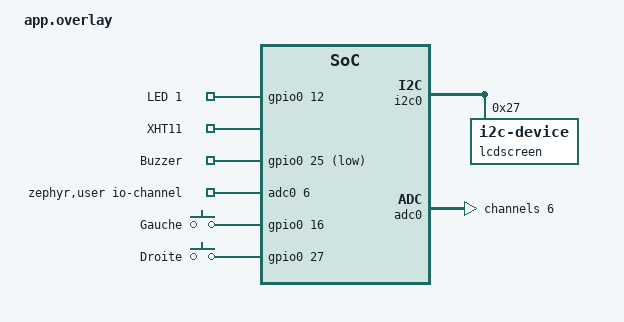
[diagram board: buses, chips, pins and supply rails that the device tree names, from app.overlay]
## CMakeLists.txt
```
# SPDX-License-Identifier: Apache-2.0

cmake_minimum_required(VERSION 3.20.0)

find_package(Zephyr REQUIRED HINTS $ENV{ZEPHYR_BASE})
project(hello_world)

target_sources(app PRIVATE 
src/main.c 
src/lcd_screen_i2c.c
src/temp_sensor_steam.c
src/button.c
)
```

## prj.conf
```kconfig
# nothing here
CONFIG_ESP32_USE_UNSUPPORTED_REVISION=y

# I2C
CONFIG_I2C=y

# SENSOR
CONFIG_ADC=y
CONFIG_SENSOR=y
CONFIG_REQUIRES_FULL_LIBC=y
CONFIG_REQUIRES_FLOAT_PRINTF=y
CONFIG_CBPRINTF_FP_SUPPORT=y

# PWM
CONFIG_PWM=y
CONFIG_PWM_LOG_LEVEL_DBG=n
```

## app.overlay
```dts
/{
    gpio_keys {
        compatible = "gpio-keys";
        ledyellow: led_yellow {
            gpios = <&gpio0 12 GPIO_ACTIVE_HIGH>;
            label = "LED 1";
        };
        dht11: dht11 {
            compatible = "aosong,dht";
            status = "okay";
            dio-gpios = <&gpio0 17 GPIO_ACTIVE_LOW>;
            label = "XHT11";
        };
        buzzer: buzzer {
            gpios = <&gpio0 25 GPIO_ACTIVE_LOW>;
            label = "Buzzer";
        };
    };
    
	zephyr,user {
		io-channels =
			<&adc0 6>;
        
			
	};

    buttons {
        compatible = "gpio-keys";
        button0: button_0 {
                gpios = < &gpio0 16 GPIO_PULL_UP  >;
                label = "Gauche";
        };
        button1: button_1 {
            gpios = < &gpio0 27 GPIO_PULL_UP  >;
            label = "Droite";
    };
        /* ... other buttons ... */
    };


    aliases {
        led-yellow = &ledyellow;
        lcd =&lcdscreen;
        sw0 = &button0;
        sw1 = &button1;
        buzzer = &buzzer;
    
    };
};


&i2c0 {
	lcdscreen: lcdscreen@27 {
		reg = <0x27>;
		compatible = "i2c-device";
		status = "okay";
	};
};
&adc0 {
	status = "okay";
	#address-cells = <1>;
	#size-cells = <0>;

	channel@6 {
		reg = <6>;
		zephyr,gain = "ADC_GAIN_1_4";
		zephyr,reference = "ADC_REF_INTERNAL";
		zephyr,acquisition-time = <ADC_ACQ_TIME_DEFAULT>;
		zephyr,resolution = <12>;
	};
};
```

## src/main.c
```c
/*
 * Copyright (c) 2012-2014 Wind River Systems, Inc.
 *
 * SPDX-License-Identifier: Apache-2.0
 */

// Include
#include <zephyr/kernel.h>
#include <zephyr/drivers/gpio.h>
#include <zephyr/device.h>
#include <zephyr/drivers/sensor.h>
#include "../inc/lcd_screen_i2c.h"
#include <zephyr/drivers/i2c.h>
#include <zephyr/drivers/adc.h>
#include "../inc/temp_sensor_steam.h"
#include "../inc/button.h"
#include <zephyr/drivers/pwm.h>
//Define
#define LED_YELLOW_NODE DT_ALIAS(led_yellow)
#define LCD_NODE DT_ALIAS(lcd)
#define SW0_NODE	DT_ALIAS(sw0)
#define SW1_NODE	DT_ALIAS(sw1)
#define BUZZER_NODE DT_ALIAS(buzzer)

const k_tid_t thread2_id;
const k_tid_t thread3_id;
bool flag_thread_2=false;
bool flag_thread_3=false;

//Main code
const struct gpio_dt_spec led_yellow_gpio = GPIO_DT_SPEC_GET_OR(LED_YELLOW_NODE, gpios, {0});
const struct i2c_dt_spec lcd_screen = I2C_DT_SPEC_GET(LCD_NODE);
const struct gpio_dt_spec buzzer = GPIO_DT_SPEC_GET_OR(BUZZER_NODE, gpios, {0});


void thread1(){ // Lecture de la température et de Steam toutes les 10 sec
	while(1){
		read_temp_and_steam_sensor();
		k_sleep(K_MSEC(10000));
	}

}
void thread2(){ // Lecture de la température et de Steam toutes les 10 sec
	while(1){
		if(flag_thread_2)
		{
			printk("Je suis réveille\n");
			write_lcd(&lcd_screen, "                ", LCD_LINE_1);
			write_lcd(&lcd_screen, "                ", LCD_LINE_2);
			write_lcd(&lcd_screen, "Yipi", LCD_LINE_1);
			flag_thread_2=false;
			
		}
		k_thread_suspend(thread2_id);
		
	}

}
void thread3(){ // Lecture de la température et de Steam toutes les 10 sec
	while(1){
		
		if(flag_thread_3)
		{
			printk("Je suis ici \n");
			gpio_pin_set_dt(&buzzer, 1);
		}
		else{
			printk("Je suis la \n");
			gpio_pin_set_dt(&buzzer, 0);
		}
		k_thread_suspend(thread3_id);
		
		
		
	}

}
/*
Le code des boutons a été récupéré depuis ce dépot GIT : 
https://github.com/ubieda/zephyr_button_debouncing/tree/master/src
*/

static int helper_button_evt_str(enum button_evt evt)
{
	switch (evt) {
	case BUTTON_EVT_PRESSED:
		return 1;
	case BUTTON_EVT_RELEASED:
		return 0;
	default:
		return -1;
	}
}

void button0_event_handler(enum button_evt evt)
{
	
	if(helper_button_evt_str(evt))
	{
		printk("Plop\n");
		flag_thread_2=true;
		k_thread_resume(thread2_id);
	}
		
	
	
}
void button1_event_handler(enum button_evt evt)
{
	if(helper_button_evt_str(evt))
	{
		k_thread_resume(thread3_id);
		printk("Plop son\n %d",flag_thread_3);
		flag_thread_3=!flag_thread_3;
		
	}

	
}


int main(void) {
	gpio_pin_configure_dt(&led_yellow_gpio, GPIO_OUTPUT_HIGH);
	gpio_pin_configure_dt(&buzzer, GPIO_OUTPUT_LOW);
	init_lcd(&lcd_screen);
	

	int err0 = -1;

	printk("Button Debouncing Sample!\n");

	err0 = button0_init(button0_event_handler);
	if (err0) {
		printk("Button Init failed: %d\n", err0);
		return 0;
	}

	int err1 = -1;

	printk("Button Debouncing Sample!\n");

	err1 = button1_init(button1_event_handler);
	if (err1) {
		printk("Button Init failed: %d\n", err1);
		return 0;
	}






}



K_THREAD_DEFINE(thread1_id,1024,thread1,NULL,NULL,NULL,9,0,0);
K_THREAD_DEFINE(thread2_id,1024,thread2,NULL,NULL,NULL,9,0,0);
K_THREAD_DEFINE(thread3_id,1024,thread3,NULL,NULL,NULL,9,0,0);
```

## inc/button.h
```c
/*
Ce code a été récupéré depuis ce dépot GIT : 
https://github.com/ubieda/zephyr_button_debouncing/tree/master/src
*/

#ifndef _BUTTON_H_
#define _BUTTON_H_

enum button_evt {
    BUTTON_EVT_PRESSED,
    BUTTON_EVT_RELEASED
};

typedef void (*button_event_handler_t)(enum button_evt evt);

int button0_init(button_event_handler_t handler);
int button1_init(button_event_handler_t handler);

#endif /* _BUTTON_H_ */
```

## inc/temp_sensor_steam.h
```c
/**
 * Author: Vivien Debuchy
 * Simple library for LCD-1602 I2C
 * Based on https://github.com/sterlingbeason/LCD-1602-I2C
 */

#ifndef TEMP_STEAM_SENSOR
#define TEMP_STEAM_SENSOR

struct i2c_dt_spec;



void read_temp_and_steam_sensor();

#endif // TEMP_STEAM_SENSOR
```

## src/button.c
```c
/*
Ce code a été récupéré depuis ce dépot GIT : 
https://github.com/ubieda/zephyr_button_debouncing/tree/master/src
*/



#include <zephyr/kernel.h>
#include <zephyr/drivers/gpio.h>
#include "../inc/button.h"

#define SW0_NODE	DT_ALIAS(sw0)
#define SW1_NODE	DT_ALIAS(sw1)
//Bouton 0
static const struct gpio_dt_spec button0 = GPIO_DT_SPEC_GET_OR(SW0_NODE, gpios,
							      {0});
static struct gpio_callback button0_cb_data;
static button_event_handler_t user0_cb;

//Bouton 1
static const struct gpio_dt_spec button1 = GPIO_DT_SPEC_GET_OR(SW1_NODE, gpios,
							      {0});
static struct gpio_callback button1_cb_data;
static button_event_handler_t user1_cb;


//Button 0
static void cooldown0_expired(struct k_work *work)
{
    ARG_UNUSED(work);

    int val = gpio_pin_get_dt(&button0);
    enum button_evt evt = val ? BUTTON_EVT_RELEASED : BUTTON_EVT_PRESSED;
    if (user0_cb) {
        user0_cb(evt);
    }
}

static K_WORK_DELAYABLE_DEFINE(cooldown0_work, cooldown0_expired);

void button0_pressed(const struct device *dev, struct gpio_callback *cb,
		    uint32_t pins)
{
    k_work_reschedule(&cooldown0_work, K_MSEC(15));
}

int button0_init(button_event_handler_t handler)
{
    int err = -1;

    if (!handler) {
        return -EINVAL;
    }

    user0_cb = handler;

	if (!device_is_ready(button0.port)) {
		return -EIO;
	}

	err = gpio_pin_configure_dt(&button0, GPIO_INPUT);
	if (err) {
        return err;
	}

	err = gpio_pin_interrupt_configure_dt(&button0, GPIO_INT_EDGE_BOTH);
	if (err) {
		return err;
	}

	gpio_init_callback(&button0_cb_data, button0_pressed, BIT(button0.pin));
	err = gpio_add_callback(button0.port, &button0_cb_data);
    if (err) {
        return err;
    }

    return 0;
}

//Button 1
static void cooldown1_expired(struct k_work *work)
{
    ARG_UNUSED(work);

    int val = gpio_pin_get_dt(&button1);
    enum button_evt evt = val ? BUTTON_EVT_RELEASED : BUTTON_EVT_PRESSED ;
    if (user1_cb) {
        user1_cb(evt);
    }
}

static K_WORK_DELAYABLE_DEFINE(cooldown1_work, cooldown1_expired);

void button1_pressed(const struct device *dev, struct gpio_callback *cb,
		    uint32_t pins)
{
    k_work_reschedule(&cooldown1_work, K_MSEC(15));
}

int button1_init(button_event_handler_t handler)
{
    int err = -1;

    if (!handler) {
        return -EINVAL;
    }

    user1_cb = handler;

	if (!device_is_ready(button1.port)) {
		return -EIO;
	}

	err = gpio_pin_configure_dt(&button1, GPIO_INPUT);
	if (err) {
        return err;
	}

	err = gpio_pin_interrupt_configure_dt(&button1, GPIO_INT_EDGE_BOTH);
	if (err) {
		return err;
	}

	gpio_init_callback(&button1_cb_data, button1_pressed, BIT(button1.pin));
	err = gpio_add_callback(button1.port, &button1_cb_data);
    if (err) {
        return err;
    }

    return 0;
}
```

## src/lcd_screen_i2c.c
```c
#include "lcd_screen_i2c.h"

#include <zephyr/kernel.h>

static void lcd_toggle_enable(const struct i2c_dt_spec *dev_lcd_screen, uint8_t bits);
static void lcd_byte(const struct i2c_dt_spec *dev_lcd_screen, uint8_t bits, uint8_t mode);

void init_lcd(const struct i2c_dt_spec *dev_lcd_screen)
{
    lcd_byte(dev_lcd_screen, 0x33, LCD_CMD);
    lcd_byte(dev_lcd_screen, 0x32, LCD_CMD);
    lcd_byte(dev_lcd_screen, 0x06, LCD_CMD);
    lcd_byte(dev_lcd_screen, 0x0c, LCD_CMD);
    lcd_byte(dev_lcd_screen, 0x28, LCD_CMD);
    lcd_byte(dev_lcd_screen, 0x01, LCD_CMD);
    write_lcd(dev_lcd_screen, HELLO_MSG, LCD_LINE_1);
    write_lcd(dev_lcd_screen, ZEPHYR_MSG, LCD_LINE_2);
}

static void lcd_byte(const struct i2c_dt_spec *dev_lcd_screen, uint8_t bits, uint8_t mode)
{
    int ret = 0;
    uint8_t bits_high = mode | (bits & 0xf0) | LCD_BACKLIGHT;
    uint8_t bits_low = mode | ((bits << 4) & 0xf0) | LCD_BACKLIGHT;
    ret = i2c_write_dt(dev_lcd_screen, bits_high, sizeof(bits_high));
    if (ret != 0)
    {
        printk("ERROR while writing to I2C");
    }
    lcd_toggle_enable(dev_lcd_screen, bits_high);

    ret = i2c_write_dt(dev_lcd_screen, bits_low, sizeof(bits_low));
    if (ret != 0)
    {
        printk("ERROR while writing to I2C");
    }
    lcd_toggle_enable(dev_lcd_screen, bits_low);
}

void write_lcd(const struct i2c_dt_spec *dev_lcd_screen, const char *msg, uint8_t line)
{
    lcd_byte(dev_lcd_screen, line, LCD_CMD);

    // Todo: fill the array with space at the end to complete the line

    if (strlen(msg) > LCD_WIDTH)
    {
        return;
    }
    for (uint8_t i = 0; i < strlen(msg); i++)
    {
        lcd_byte(dev_lcd_screen, msg[i], LCD_CHR);
    }
}

static void lcd_toggle_enable(const struct i2c_dt_spec *dev_lcd_screen, uint8_t bits)
{
    int ret = 0;
    k_sleep(K_MSEC(5));
    uint8_t bits1 = bits | LCD_ENABLE;
    ret = i2c_write_dt(&dev_lcd_screen, bits1, sizeof(bits1));
    if (ret != 0)
    {
        printk("ERROR while writing to I2C");
    }
    k_sleep(K_MSEC(5));
    uint8_t bits2 = bits & ~LCD_ENABLE;
    ret = i2c_write_dt(&dev_lcd_screen, bits2, sizeof(bits2));
    if (ret != 0)
    {
        printk("ERROR while writing to I2C");
    }
    k_sleep(K_MSEC(5));
}
```

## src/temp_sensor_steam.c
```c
#include "../inc/temp_sensor_steam.h"
#include <zephyr/kernel.h>
#include <zephyr/drivers/gpio.h>
#include <zephyr/device.h>
#include <zephyr/drivers/sensor.h>
#include <zephyr/drivers/adc.h>

#define DT_SPEC_AND_COMMA(node_id, prop, idx) \
	ADC_DT_SPEC_GET_BY_IDX(node_id, idx),

const struct device *const dht11 = DEVICE_DT_GET_ONE(aosong_dht); //Temperature
static const struct adc_dt_spec adc_channels[] = {
	DT_FOREACH_PROP_ELEM(DT_PATH(zephyr_user), io_channels,
			     DT_SPEC_AND_COMMA)
};

void read_temp_and_steam_sensor()
{
// Temp Sensor
	int ret;
	struct sensor_value temp_value;

	if (!device_is_ready(dht11)) {
		printk("sensor: device not ready.\n");
		return ;
	}

	printk("Polling magnetometer data from %s.\n", dht11->name);

	//Steam Sensor
	int err;
	uint16_t buf;
	struct adc_sequence sequence = {
		.buffer = &buf,
		/* buffer size in bytes, not number of samples */
		.buffer_size = sizeof(buf),
	};

	for (size_t i = 0U; i < ARRAY_SIZE(adc_channels); i++) {
		if (!adc_is_ready_dt(&adc_channels[i])) {
			printk("ADC controller device %s not ready\n", adc_channels[i].dev->name);
			return ;
		}

		err = adc_channel_setup_dt(&adc_channels[i]);
		if (err < 0) {
			printk("Could not setup channel #%d (%d)\n", i, err);
			return ;
		}
	}


	
		// Get ambiant temp
		ret = sensor_sample_fetch(dht11);
		if (ret) {
			printk("sensor_sample_fetch failed ret %d\n", ret);
			return ;
		}
		ret = sensor_channel_get(dht11, SENSOR_CHAN_AMBIENT_TEMP, &temp_value);
		printf("ambiant temp = ( %f )\n",
		       sensor_value_to_double(&temp_value));
		// Get Steam value
		for (size_t i = 0U; i < ARRAY_SIZE(adc_channels); i++) {
			int32_t val_mv;

			printk("- %s, channel %d: ",
			       adc_channels[i].dev->name,
			       adc_channels[i].channel_id);

			(void)adc_sequence_init_dt(&adc_channels[i], &sequence);

			err = adc_read_dt(&adc_channels[i], &sequence);
			if (err < 0) {
				printk("Could not read (%d)\n", err);
				continue;
			}

			/*
			 * If using differential mode, the 16 bit value
			 * in the ADC sample buffer should be a signed 2's
			 * complement value.
			 */
			if (adc_channels[i].channel_cfg.differential) {
				val_mv = (int32_t)((int16_t)buf);
			} else {
				val_mv = (int32_t)buf;
			}
			printk("%"PRId32, val_mv);
			err = adc_raw_to_millivolts_dt(&adc_channels[i],
						       &val_mv);
			/* conversion to mV may not be supported, skip if not */
			if (err < 0) {
				printk(" (value in mV not available)\n");
			} else {
				printk(" = %"PRId32" mV\n", val_mv);
			}
		}

		
	
}
```
